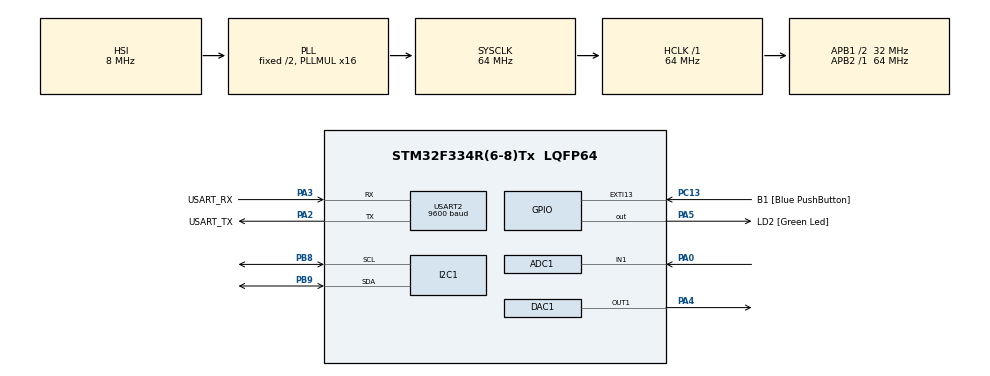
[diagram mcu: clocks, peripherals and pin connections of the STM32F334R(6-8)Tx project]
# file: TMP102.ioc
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ADC1.Channel-0\#ChannelRegularConversion=ADC_CHANNEL_1
ADC1.ExternalTrigConv=ADC_EXTERNALTRIGCONV_T2_TRGO
ADC1.NbrOfConversionFlag=1
ADC1.Offset-0\#ChannelRegularConversion=0
ADC1.OffsetNumber-0\#ChannelRegularConversion=ADC_OFFSET_NONE
ADC1.Rank-0\#ChannelRegularConversion=1
ADC1.SamplingTime-0\#ChannelRegularConversion=ADC_SAMPLETIME_1CYCLE_5
ADC1.SamplingTimeOPAMP-0\#ChannelRegularConversion=ADC_SAMPLETIME_61CYCLES_5
ADC1.SubFamily=STM32F334x8
ADC1.master=1
Mcu.Family=STM32F3
Mcu.Name=STM32F334R(6-8)Tx
Mcu.Package=LQFP64
NVIC.ADC1_2_IRQn=true\:0\:0\:false\:false\:true\:true\:true\:true
NVIC.PriorityGroup=NVIC_PRIORITYGROUP_0
PA0.Mode=IN1-Single-Ended
PA0.Signal=ADC1_IN1
PA13.GPIO_Label=TMS
PA13.Mode=Serial_Wire
PA13.Signal=SYS_JTMS-SWDIO
PA14.GPIO_Label=TCK
PA14.Mode=Serial_Wire
PA14.Signal=SYS_JTCK-SWCLK
PA2.GPIO_Label=USART_TX
PA2.Mode=Asynchronous
PA2.Signal=USART2_TX
PA3.GPIO_Label=USART_RX
PA3.Mode=Asynchronous
PA3.Signal=USART2_RX
PA4.Signal=COMP_DAC11_group
PA5.GPIO_Label=LD2 [Green Led]
PA5.Signal=GPIO_Output
PB3.GPIO_Label=SWO
PB3.Signal=SYS_JTDO-TRACESWO
PB8.Mode=I2C
PB8.Signal=I2C1_SCL
PB9.Mode=I2C
PB9.Signal=I2C1_SDA
PC13.GPIO_Label=B1 [Blue PushButton]
PC13.GPIO_ModeDefaultEXTI=GPIO_MODE_IT_FALLING
PC13.Signal=GPXTI13
PC14\ /\ OSC32_IN.Mode=LSE-External-Oscillator
PC14\ /\ OSC32_IN.Signal=RCC_OSC32_IN
PC15\ /\ OSC32_OUT.GPIO_Label=RCC_OSC32_OUT
PC15\ /\ OSC32_OUT.Mode=LSE-External-Oscillator
PC15\ /\ OSC32_OUT.Signal=RCC_OSC32_OUT
PF0\ /\ OSC_IN.Mode=HSE-External-Clock-Source
PF0\ /\ OSC_IN.Signal=RCC_OSC_IN
PF1\ /\ OSC_OUT.Signal=RCC_OSC_OUT
ProjectManager.HeapSize=0x200
ProjectManager.StackSize=0x400
ProjectManager.TargetToolchain=STM32CubeIDE
RCC.AHBFreq_Value=64000000
RCC.APB1CLKDivider=RCC_HCLK_DIV2
RCC.APB1Freq_Value=32000000
RCC.APB1TimFreq_Value=64000000
RCC.APB2Freq_Value=64000000
RCC.APB2TimFreq_Value=64000000
RCC.CortexFreq_Value=64000000
RCC.FLatency-AdvancedSettings=FLASH_LATENCY_2
RCC.HCLKFreq_Value=64000000
RCC.HSE_VALUE=8000000
RCC.HSI_VALUE=8000000
RCC.PLLMUL=RCC_PLL_MUL16
RCC.SYSCLKFreq_VALUE=64000000
RCC.SYSCLKSourceVirtual=RCC_SYSCLKSOURCE_PLLCLK
SH.COMP_DAC11_group.0=DAC1_OUT1,DAC_OUT1
TIM2.AutoReloadPreload=TIM_AUTORELOAD_PRELOAD_ENABLE
TIM2.Period=64000000
TIM2.TIM_MasterOutputTrigger=TIM_TRGO_UPDATE
USART2.BaudRate=9600
USART2.VirtualMode-Asynchronous=VM_ASYNC
VP_TIM2_VS_ClockSourceINT.Mode=Internal
board=NUCLEO-F334R8

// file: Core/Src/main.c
/* USER CODE BEGIN Header */
/**
  ******************************************************************************
  * @file           : main.c
  * @brief          : Main program body
  ******************************************************************************
  * @attention
  *
  * Copyright (c) 2023 STMicroelectronics.
  * All rights reserved.
  *
  * This software is licensed under terms that can be found in the LICENSE file
  * in the root directory of this software component.
  * If no LICENSE file comes with this software, it is provided AS-IS.
  *
  ******************************************************************************
  */
/* USER CODE END Header */
#include "main.h"

/* USER CODE BEGIN Includes */
#include <string.h>
#include <stdio.h>
/* USER CODE END Includes */

ADC_HandleTypeDef hadc1;

DAC_HandleTypeDef hdac1;

I2C_HandleTypeDef hi2c1;

TIM_HandleTypeDef htim2;

UART_HandleTypeDef huart2;

/* USER CODE BEGIN PV */
static const uint8_t TMP102_ADDR = 0x48 << 1; // Use 8-bit address
static const uint8_t REG_TEMP = 0x00;

// Para el anemometro
uint32_t ADCResult;

/* USER CODE END PV */

void SystemClock_Config(void);
static void MX_GPIO_Init(void);
static void MX_USART2_UART_Init(void);
static void MX_I2C1_Init(void);
static void MX_ADC1_Init(void);
static void MX_DAC1_Init(void);
static void MX_TIM2_Init(void);

/* USER CODE BEGIN 0 */
void HAL_ADC_ConvCpltCallback(ADC_HandleTypeDef* hadc)
{
	ADCResult = HAL_ADC_GetValue (&hadc1);
	HAL_DAC_SetValue(&hdac1, DAC_CHANNEL_1, DAC_ALIGN_12B_R, ADCResult);
	HAL_GPIO_TogglePin(GPIOA, GPIO_PIN_5);
}
/* USER CODE END 0 */

int main(void)
{
  /* USER CODE BEGIN 1 */
	HAL_StatusTypeDef ret;
	uint8_t buf[12];
	int16_t val;
	float temp_c;

  /* USER CODE END 1 */

  /* MCU Configuration--------------------------------------------------------*/

  /* Reset of all peripherals, Initializes the Flash interface and the Systick. */
  HAL_Init();

  /* Configure the system clock */
  SystemClock_Config();

  /* Initialize all configured peripherals */
  MX_GPIO_Init();
  MX_USART2_UART_Init();
  MX_I2C1_Init();
  MX_ADC1_Init();
  MX_DAC1_Init();
  MX_TIM2_Init();
  /* USER CODE BEGIN 2 */
    HAL_TIM_Base_Start(&htim2);    		// This function turns timer2 ON
    HAL_ADC_Start_IT(&hadc1); 			// Start the ADC
    HAL_DAC_Start(&hdac1, DAC_CHANNEL_1); // Start the DAC
  /* USER CODE END 2 */

  /* Infinite loop */
  /* USER CODE BEGIN WHILE */
  while (1)
  {
	  //Tell TMP102 that we want to read from the t register
	  buf[0] = REG_TEMP;
	  ret = HAL_I2C_Master_Transmit(&hi2c1, TMP102_ADDR, buf, 1, HAL_MAX_DELAY);
	  if ( ret != HAL_OK ){
		  strcpy((char*)buf, "Error Tx\r\n");
	  } else{
		  //Read 2 bytes from the t register
		  ret = HAL_I2C_Master_Receive(&hi2c1, TMP102_ADDR, buf, 2, HAL_MAX_DELAY);
		  if ( ret != HAL_OK ){
		  strcpy((char*)buf, "Error Rx\r\n");
		  } else{

		  //Combine the bytes
		  val = ((int16_t)buf[0] << 4) | (buf[1] >> 4);

		  // Convert to 2's complement, since t can be negative
		  if( val > 0x7FF){
		  	  val |= 0xF000;
		  }

		  // Convert the float t value (C)
		  temp_c = val * 0.0625;

		  //Convert to float t value format
		  temp_c*= 100;
		  sprintf((char*)buf,
				  "%u.%02u C, %u\r\n",
				  ((unsigned int)temp_c / 100),
				  ((unsigned int)temp_c % 100),
				  ((unsigned int)((ADCResult-150)/2.15)));

		  }
	  }
	  // Send out buffer
	  HAL_UART_Transmit(&huart2, buf, strlen((char*)buf), HAL_MAX_DELAY);
	  //Wait
	  HAL_Delay(500);
    /* USER CODE END WHILE */

  }
}

void SystemClock_Config(void)
{
  RCC_OscInitTypeDef RCC_OscInitStruct = {0};
  RCC_ClkInitTypeDef RCC_ClkInitStruct = {0};
  RCC_PeriphCLKInitTypeDef PeriphClkInit = {0};

  /** Initializes the RCC Oscillators according to the specified parameters
  * in the RCC_OscInitTypeDef structure.
  */
  RCC_OscInitStruct.OscillatorType = RCC_OSCILLATORTYPE_HSI;
  RCC_OscInitStruct.HSIState = RCC_HSI_ON;
  RCC_OscInitStruct.HSICalibrationValue = RCC_HSICALIBRATION_DEFAULT;
  RCC_OscInitStruct.PLL.PLLState = RCC_PLL_ON;
  RCC_OscInitStruct.PLL.PLLSource = RCC_PLLSOURCE_HSI;
  RCC_OscInitStruct.PLL.PLLMUL = RCC_PLL_MUL16;
  if (HAL_RCC_OscConfig(&RCC_OscInitStruct) != HAL_OK)
  {
    Error_Handler();
  }

  /** Initializes the CPU, AHB and APB buses clocks
  */
  RCC_ClkInitStruct.ClockType = RCC_CLOCKTYPE_HCLK|RCC_CLOCKTYPE_SYSCLK
                              |RCC_CLOCKTYPE_PCLK1|RCC_CLOCKTYPE_PCLK2;
  RCC_ClkInitStruct.SYSCLKSource = RCC_SYSCLKSOURCE_PLLCLK;
  RCC_ClkInitStruct.AHBCLKDivider = RCC_SYSCLK_DIV1;
  RCC_ClkInitStruct.APB1CLKDivider = RCC_HCLK_DIV2;
  RCC_ClkInitStruct.APB2CLKDivider = RCC_HCLK_DIV1;

  if (HAL_RCC_ClockConfig(&RCC_ClkInitStruct, FLASH_LATENCY_2) != HAL_OK)
  {
    Error_Handler();
  }
  PeriphClkInit.PeriphClockSelection = RCC_PERIPHCLK_I2C1|RCC_PERIPHCLK_ADC12;
  PeriphClkInit.Adc12ClockSelection = RCC_ADC12PLLCLK_DIV1;
  PeriphClkInit.I2c1ClockSelection = RCC_I2C1CLKSOURCE_HSI;
  if (HAL_RCCEx_PeriphCLKConfig(&PeriphClkInit) != HAL_OK)
  {
    Error_Handler();
  }
}

static void MX_ADC1_Init(void)
{

  ADC_MultiModeTypeDef multimode = {0};
  ADC_ChannelConfTypeDef sConfig = {0};

  /** Common config
  */
  hadc1.Instance = ADC1;
  hadc1.Init.ClockPrescaler = ADC_CLOCK_ASYNC_DIV1;
  hadc1.Init.Resolution = ADC_RESOLUTION_12B;
  hadc1.Init.ScanConvMode = ADC_SCAN_DISABLE;
  hadc1.Init.ContinuousConvMode = DISABLE;
  hadc1.Init.DiscontinuousConvMode = DISABLE;
  hadc1.Init.ExternalTrigConvEdge = ADC_EXTERNALTRIGCONVEDGE_RISING;
  hadc1.Init.ExternalTrigConv = ADC_EXTERNALTRIGCONV_T2_TRGO;
  hadc1.Init.DataAlign = ADC_DATAALIGN_RIGHT;
  hadc1.Init.NbrOfConversion = 1;
  hadc1.Init.DMAContinuousRequests = DISABLE;
  hadc1.Init.EOCSelection = ADC_EOC_SINGLE_CONV;
  hadc1.Init.LowPowerAutoWait = DISABLE;
  hadc1.Init.Overrun = ADC_OVR_DATA_OVERWRITTEN;
  if (HAL_ADC_Init(&hadc1) != HAL_OK)
  {
    Error_Handler();
  }

  /** Configure the ADC multi-mode
  */
  multimode.Mode = ADC_MODE_INDEPENDENT;
  if (HAL_ADCEx_MultiModeConfigChannel(&hadc1, &multimode) != HAL_OK)
  {
    Error_Handler();
  }

  /** Configure Regular Channel
  */
  sConfig.Channel = ADC_CHANNEL_1;
  sConfig.Rank = ADC_REGULAR_RANK_1;
  sConfig.SingleDiff = ADC_SINGLE_ENDED;
  sConfig.SamplingTime = ADC_SAMPLETIME_1CYCLE_5;
  sConfig.OffsetNumber = ADC_OFFSET_NONE;
  sConfig.Offset = 0;
  if (HAL_ADC_ConfigChannel(&hadc1, &sConfig) != HAL_OK)
  {
    Error_Handler();
  }

}

static void MX_DAC1_Init(void)
{

  DAC_ChannelConfTypeDef sConfig = {0};

  /** DAC Initialization
  */
  hdac1.Instance = DAC1;
  if (HAL_DAC_Init(&hdac1) != HAL_OK)
  {
    Error_Handler();
  }

  /** DAC channel OUT1 config
  */
  sConfig.DAC_Trigger = DAC_TRIGGER_NONE;
  sConfig.DAC_OutputBuffer = DAC_OUTPUTBUFFER_ENABLE;
  if (HAL_DAC_ConfigChannel(&hdac1, &sConfig, DAC_CHANNEL_1) != HAL_OK)
  {
    Error_Handler();
  }

}

static void MX_I2C1_Init(void)
{

  hi2c1.Instance = I2C1;
  hi2c1.Init.Timing = 0x2000090E;
  hi2c1.Init.OwnAddress1 = 0;
  hi2c1.Init.AddressingMode = I2C_ADDRESSINGMODE_7BIT;
  hi2c1.Init.DualAddressMode = I2C_DUALADDRESS_DISABLE;
  hi2c1.Init.OwnAddress2 = 0;
  hi2c1.Init.OwnAddress2Masks = I2C_OA2_NOMASK;
  hi2c1.Init.GeneralCallMode = I2C_GENERALCALL_DISABLE;
  hi2c1.Init.NoStretchMode = I2C_NOSTRETCH_DISABLE;
  if (HAL_I2C_Init(&hi2c1) != HAL_OK)
  {
    Error_Handler();
  }

  /** Configure Analogue filter
  */
  if (HAL_I2CEx_ConfigAnalogFilter(&hi2c1, I2C_ANALOGFILTER_ENABLE) != HAL_OK)
  {
    Error_Handler();
  }

  /** Configure Digital filter
  */
  if (HAL_I2CEx_ConfigDigitalFilter(&hi2c1, 0) != HAL_OK)
  {
    Error_Handler();
  }

}

static void MX_TIM2_Init(void)
{

  TIM_ClockConfigTypeDef sClockSourceConfig = {0};
  TIM_MasterConfigTypeDef sMasterConfig = {0};

  htim2.Instance = TIM2;
  htim2.Init.Prescaler = 0;
  htim2.Init.CounterMode = TIM_COUNTERMODE_UP;
  htim2.Init.Period = 64000000;
  htim2.Init.ClockDivision = TIM_CLOCKDIVISION_DIV1;
  htim2.Init.AutoReloadPreload = TIM_AUTORELOAD_PRELOAD_ENABLE;
  if (HAL_TIM_Base_Init(&htim2) != HAL_OK)
  {
    Error_Handler();
  }
  sClockSourceConfig.ClockSource = TIM_CLOCKSOURCE_INTERNAL;
  if (HAL_TIM_ConfigClockSource(&htim2, &sClockSourceConfig) != HAL_OK)
  {
    Error_Handler();
  }
  sMasterConfig.MasterOutputTrigger = TIM_TRGO_UPDATE;
  sMasterConfig.MasterSlaveMode = TIM_MASTERSLAVEMODE_DISABLE;
  if (HAL_TIMEx_MasterConfigSynchronization(&htim2, &sMasterConfig) != HAL_OK)
  {
    Error_Handler();
  }

}

static void MX_USART2_UART_Init(void)
{

  huart2.Instance = USART2;
  huart2.Init.BaudRate = 9600;
  huart2.Init.WordLength = UART_WORDLENGTH_8B;
  huart2.Init.StopBits = UART_STOPBITS_1;
  huart2.Init.Parity = UART_PARITY_NONE;
  huart2.Init.Mode = UART_MODE_TX_RX;
  huart2.Init.HwFlowCtl = UART_HWCONTROL_NONE;
  huart2.Init.OverSampling = UART_OVERSAMPLING_16;
  huart2.Init.OneBitSampling = UART_ONE_BIT_SAMPLE_DISABLE;
  huart2.AdvancedInit.AdvFeatureInit = UART_ADVFEATURE_NO_INIT;
  if (HAL_UART_Init(&huart2) != HAL_OK)
  {
    Error_Handler();
  }

}

static void MX_GPIO_Init(void)
{
  GPIO_InitTypeDef GPIO_InitStruct = {0};

  /* GPIO Ports Clock Enable */
  __HAL_RCC_GPIOC_CLK_ENABLE();
  __HAL_RCC_GPIOF_CLK_ENABLE();
  __HAL_RCC_GPIOA_CLK_ENABLE();
  __HAL_RCC_GPIOB_CLK_ENABLE();

  /*Configure GPIO pin Output Level */
  HAL_GPIO_WritePin(LD2_GPIO_Port, LD2_Pin, GPIO_PIN_RESET);

  /*Configure GPIO pin : B1_Pin */
  GPIO_InitStruct.Pin = B1_Pin;
  GPIO_InitStruct.Mode = GPIO_MODE_IT_FALLING;
  GPIO_InitStruct.Pull = GPIO_NOPULL;
  HAL_GPIO_Init(B1_GPIO_Port, &GPIO_InitStruct);

  /*Configure GPIO pin : LD2_Pin */
  GPIO_InitStruct.Pin = LD2_Pin;
  GPIO_InitStruct.Mode = GPIO_MODE_OUTPUT_PP;
  GPIO_InitStruct.Pull = GPIO_NOPULL;
  GPIO_InitStruct.Speed = GPIO_SPEED_FREQ_LOW;
  HAL_GPIO_Init(LD2_GPIO_Port, &GPIO_InitStruct);

}

void Error_Handler(void)
{
  __disable_irq();
  while (1)
  {
  }
}
